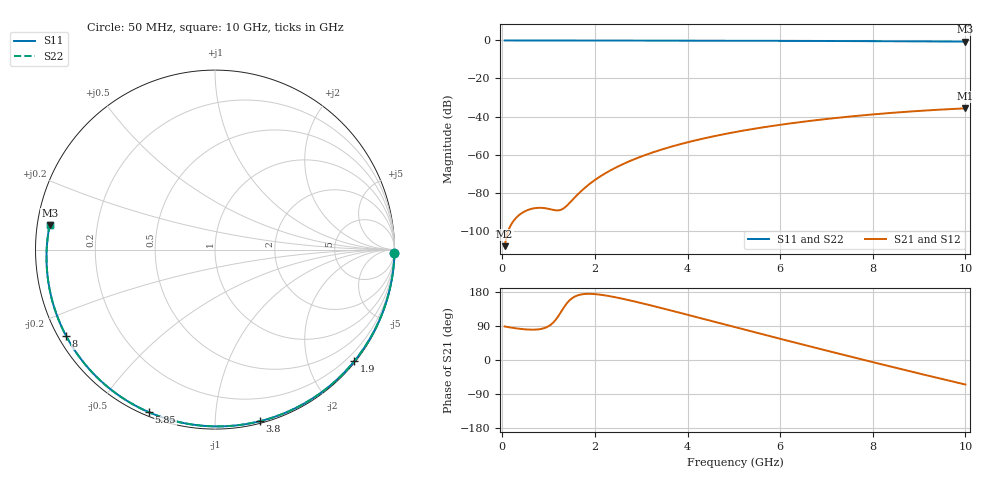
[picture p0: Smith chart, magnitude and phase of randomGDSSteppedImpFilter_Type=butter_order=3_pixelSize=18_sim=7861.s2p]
! freq	dB(S11)	phase(S11)	dB(S12)	phase(S12)
!  dB(S21)	phase(S21)	dB(S22)	phase(S22)
!S-par simulation data
#  GHz  S  DB  R 50
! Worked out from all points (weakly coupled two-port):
!   200 points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, 50 MHz to 10 GHz, reference 50 ohm
!   highest |S21| = -35.72 dB at 10 GHz (marker M1); lowest = -108.2 dB at 50 MHz (marker M2)
!   lowest |S11| = -0.6 dB at 10 GHz (marker M3), VSWR 28.14, Z = 1.79 + j3.7 ohm
!   |S11| at or under -10 dB: nowhere
!   |S22| runs from -0.6 to 0.0 dB; largest |S21 - S12| = 0
!   S11 on the Smith chart (normalised r, x): 50 MHz: open; 1.9 GHz: 0.03, -2.84; 3.8 GHz: 0.02, -1.30; 5.85 GHz: 0.02, -0.67; 8 GHz: 0.02, -0.27; 10 GHz: 0.04, +0.07
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0.05  -0.00 -1.0  -108.20 88.6  -108.20 88.6  -0.00 -1.0
0.8  -0.02 -16.5  -88.02 81.2  -88.02 81.2  -0.02 -16.5
1.2  -0.03 -24.7  -89.39 113.9  -89.39 113.9  -0.03 -24.7
1.65  -0.04 -33.8  -80.48 171.4  -80.48 171.4  -0.04 -33.8
1.7  -0.04 -34.8  -79.32 172.9  -79.32 172.9  -0.04 -34.8
1.75  -0.05 -35.8  -78.21 173.9  -78.21 173.9  -0.05 -35.8
1.9  -0.05 -38.8  -75.18 174.6  -75.18 174.6  -0.05 -38.8
2.2  -0.06 -44.7  -70.23 170.9  -70.23 170.9  -0.06 -44.7
2.55  -0.07 -51.6  -65.68 162.8  -65.68 162.8  -0.07 -51.6
2.95  -0.08 -59.3  -61.51 151.7  -61.51 151.7  -0.08 -59.3
3.4  -0.09 -67.8  -57.69 138.2  -57.69 138.2  -0.09 -67.8
3.8  -0.10 -75.3  -54.84 125.7  -54.84 125.7  -0.10 -75.3
4.4  -0.12 -86.3  -51.27 106.7  -51.27 106.7  -0.12 -86.3
5.05  -0.15 -98.0  -48.08 86.0  -48.08 86.0  -0.15 -98.0
5.85  -0.19 -112.1  -44.89 60.7  -44.89 60.7  -0.19 -112.1
6.7  -0.25 -126.9  -42.15 34.1  -42.15 34.1  -0.25 -126.9
7.35  -0.30 -138.3  -40.40 14.1  -40.40 14.1  -0.30 -138.3
8  -0.36 -149.8  -38.91 -5.6  -38.91 -5.6  -0.36 -149.8
8.35  -0.40 -156.2  -38.20 -16.2  -38.20 -16.2  -0.40 -156.2
9.2  -0.50 -172.2  -36.75 -41.5  -36.75 -41.5  -0.50 -172.2
9.6  -0.56 179.8  -36.19 -53.2  -36.19 -53.2  -0.56 179.8
10  -0.62 171.5  -35.72 -64.7  -35.72 -64.7  -0.62 171.5
